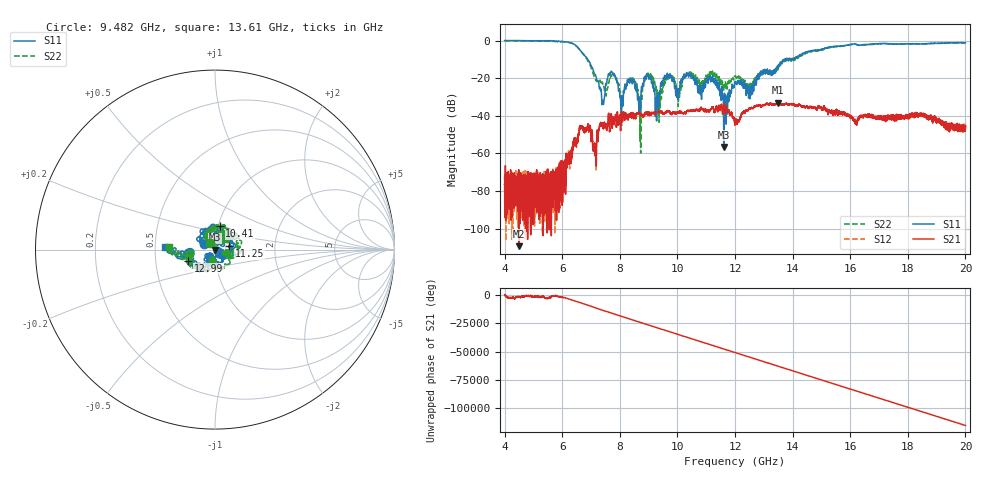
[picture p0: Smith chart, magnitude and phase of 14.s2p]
[Version] 2.0
! Rohde & Schwarz Vector Network Analyzer
! Rohde-Schwarz,ZNL20-2Port,1323001220200009,1.71.1.10-23.02.1.238
! Port Assignments:
! Nominal Port -> Actual Test Port
!  1 -> 1
!  2 -> 2
! Created: GMT+2 2025-01-17 12:11:21
# Hz S RI R 50
[Number of Ports] 2
[Two-Port Data Order] 21_12
! freq[Hz]  S11[Re]  S11[Im]  S21[Re]  S21[Im]  S12[Re]  S12[Im]  S22[Re]  S22[Im]
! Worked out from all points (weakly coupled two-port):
!   16001 points, 4 GHz to 20 GHz, reference 50 ohm
!   highest |S21| = -33.03 dB at 13.49 GHz (marker M1); lowest = -109.3 dB at 4.509 GHz (marker M2)
!   lowest |S11| = -56.5 dB at 11.61 GHz (marker M3), VSWR 1.00, Z = 50.1 - j0.126 ohm
!   |S11| at or under -10 dB: 6.883 GHz to 13.7 GHz (6.818 GHz wide, 66.2 % of centre); 13.7123 GHz to 13.74178 GHz (29.48 MHz wide, 0.215 % of centre); 13.94229 GHz to 13.96586 GHz (23.57 MHz wide, 0.169 % of centre) (the widest 3 of 9)
!   |S22| runs from -59.8 to 0.0 dB; largest |S21 - S12| = 0.0026
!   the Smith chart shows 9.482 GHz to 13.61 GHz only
!   S11 on the Smith chart (normalised r, x): 9.482 GHz: 0.88, +0.06; 10.41 GHz: 1.02, +0.27; 11.25 GHz: 1.17, +0.05; 12.99 GHz: 0.74, -0.09; 13.61 GHz: 0.57, +0.02
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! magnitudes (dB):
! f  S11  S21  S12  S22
! 4 GHz  0.0  -73.5  -76.6  -0.2
! 4.509 GHz  0.0  -109.3  -78.2  -0.1
! 5.791 GHz  -0.2  -77.6  -73.2  -0.4
! 6.667 GHz  -6.0  -45.9  -45.6  -6.1
! 7.125 GHz  -17.8  -56.6  -55.1  -19.6
! 7.408 GHz  -31.8  -44.2  -44.3  -22.9
! 7.721 GHz  -16.8  -41.9  -41.9  -18.9
! 8.05 GHz  -41.3  -39.2  -39.1  -32.8
! 8.715 GHz  -35.4  -39.0  -38.8  -39.0
! 9.004 GHz  -20.4  -38.5  -38.3  -18.7
! 9.334 GHz  -27.8  -38.0  -38.0  -31.0
! 9.482 GHz  -23.2  -38.6  -38.7  -27.2
! 10.41 GHz  -17.5  -37.3  -37.4  -16.7
! 11.25 GHz  -21.9  -36.0  -36.0  -17.5
! 11.61 GHz  -56.5  -33.7  -33.8  -25.1
! 12 GHz  -22.1  -44.4  -44.7  -19.2
! 12.99 GHz  -15.9  -34.4  -34.3  -16.5
! 13.49 GHz  -13.9  -33.0  -33.2  -15.4
! 13.61 GHz  -11.1  -33.8  -33.9  -11.8
! 14.67 GHz  -5.4  -35.4  -35.3  -5.9
! 17.33 GHz  -1.7  -41.3  -40.9  -1.8
! 20 GHz  -1.2  -45.0  -45.8  -1.2
